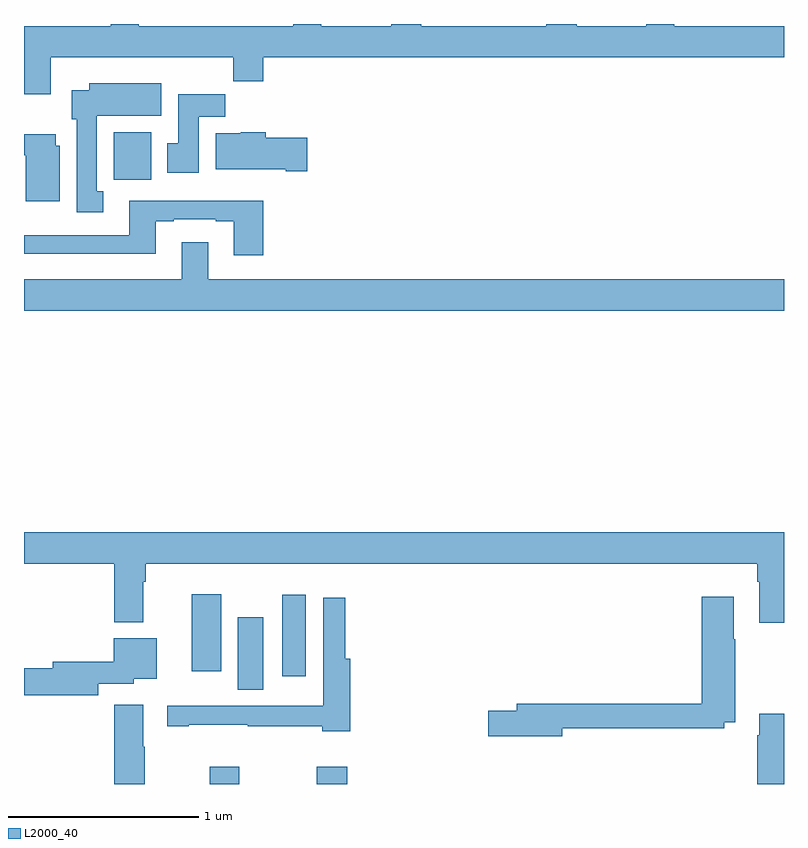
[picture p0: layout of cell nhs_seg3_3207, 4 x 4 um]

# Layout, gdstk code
import gdstk
lib = gdstk.Library(unit=1e-6, precision=1e-09)
def R(c, l, rs):  # rectangles x0, y0, x1, y1
    for r in rs: c.add(gdstk.rectangle(r[:2], r[2:], *l))
def P(c, l, *ps):  # polygons
    for p in ps: c.add(gdstk.Polygon(p, *l))
L2000_40 = (2000, 40)

nhs_seg3_3207 = lib.new_cell('nhs_seg3_3207')
R(nhs_seg3_3207, L2000_40, [(277.978,722.4,278.133,722.491), (278.542,722.4,278.702,722.491), (278.126,722.896,278.26,723.277), (278.36,722.967,278.482,723.397), (277.883,722.994,278.038,723.4), (277.473,725.58,277.669,725.83)])
P(nhs_seg3_3207, L2000_40, [(278.101,726.1),(278.258,726.1),(278.258,726.224),(281,726.224),(281,726.388),(280.422,726.388),(280.422,726.4),(280.276,726.4),(280.276,726.388),(279.909,726.388),(279.909,726.4),(279.749,726.4),(279.749,726.388),(279.092,726.388),(279.092,726.4),(278.932,726.4),(278.932,726.388),(278.565,726.388),(278.565,726.4),(278.418,726.4),(278.418,726.388),(277.605,726.388),(277.605,726.4),(277.457,726.4),(277.457,726.388),(277,726.388),(277,726.03),(277.141,726.03),(277.141,726.224),(278.101,726.224)],
  [(277.417,725.521),(277.384,725.521),(277.384,725.918),(277.723,725.918),(277.723,726.088),(277.343,726.088),(277.343,726.052),(277.25,726.052),(277.25,725.898),(277.277,725.898),(277.277,725.409),(277.417,725.409)],
  [(277.921,725.912),(278.06,725.912),(278.06,726.03),(277.811,726.03),(277.811,725.772),(277.754,725.772),(277.754,725.616),(277.921,725.616)],
  [(278.491,725.802),(278.273,725.802),(278.273,725.83),(278.142,725.83),(278.142,725.824),(278.009,725.824),(278.009,725.636),(278.378,725.636),(278.378,725.624),(278.491,725.624)],
  [(277.189,725.76),(277.168,725.76),(277.168,725.821),(277,725.821),(277,725.708),(277.01,725.708),(277.01,725.468),(277.189,725.468)],
  [(278.258,725.47),(277.553,725.47),(277.553,725.289),(277,725.289),(277,725.192),(277.693,725.192),(277.693,725.361),(277.789,725.361),(277.789,725.373),(278.009,725.373),(278.009,725.361),(278.105,725.361),(278.105,725.184),(278.258,725.184)],
  [(281,725.056),(277.969,725.056),(277.969,725.251),(277.829,725.251),(277.829,725.056),(277,725.056),(277,724.892),(281,724.892)],
  [(281,723.724),(277,723.724),(277,723.56),(277.475,723.56),(277.475,723.251),(277.627,723.251),(277.627,723.464),(277.64,723.464),(277.64,723.56),(280.859,723.56),(280.859,723.464),(280.871,723.464),(280.871,723.249),(281,723.249)],
  [(279.832,722.694),(280.686,722.694),(280.686,722.726),(280.743,722.726),(280.743,723.161),(280.735,723.161),(280.735,723.385),(280.568,723.385),(280.568,722.822),(279.593,722.822),(279.593,722.786),(279.444,722.786),(279.444,722.651),(279.832,722.651)],
  [(278.717,723.058),(278.69,723.058),(278.69,723.379),(278.574,723.379),(278.574,722.812),(278.364,722.812),(278.364,722.811),(278.03,722.811),(278.03,722.813),(277.755,722.813),(277.755,722.703),(277.867,722.703),(277.867,722.713),(278.177,722.713),(278.177,722.703),(278.57,722.703),(278.57,722.678),(278.717,722.678)],
  [(277.39,722.928),(277.578,722.928),(277.578,722.954),(277.699,722.954),(277.699,723.166),(277.472,723.166),(277.472,723.044),(277.151,723.044),(277.151,723.008),(277.002,723.008),(277.002,722.866),(277.39,722.866)],
  [(277.635,722.597),(277.627,722.597),(277.627,722.818),(277.475,722.818),(277.475,722.4),(277.635,722.4)],
  [(281,722.77),(280.871,722.77),(280.871,722.657),(280.859,722.657),(280.859,722.4),(281,722.4)])

lib.write_gds('nhs_seg3_3207.gds')
